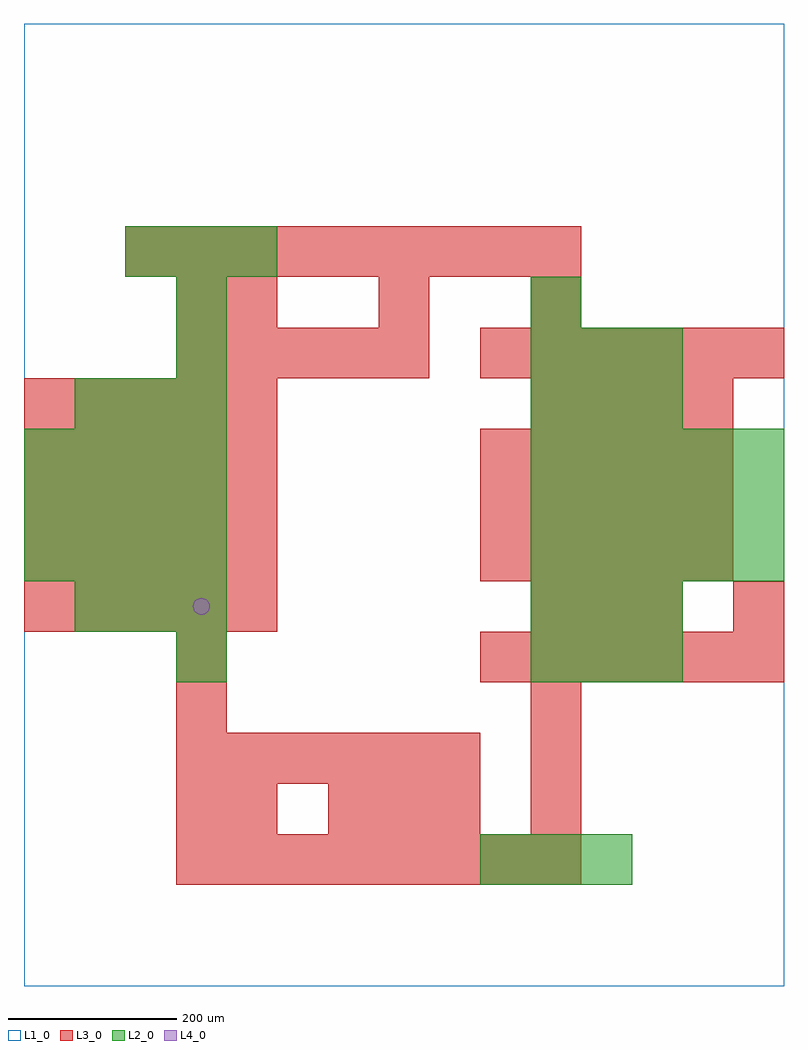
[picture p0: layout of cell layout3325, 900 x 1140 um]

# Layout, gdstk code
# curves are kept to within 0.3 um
import gdstk
lib = gdstk.Library(unit=1e-6, precision=1e-09)
def R(c, l, rs):  # rectangles x0, y0, x1, y1
    for r in rs: c.add(gdstk.rectangle(r[:2], r[2:], *l))
def A(c, l, x, y, w, h, nx, ny, dx, dy):  # array of equal rectangles
    R(c, l, [(x+i*dx, y+j*dy, x+i*dx+w, y+j*dy+h) for i in range(nx) for j in range(ny)])
def P(c, l, *ps):  # polygons
    for p in ps: c.add(gdstk.Polygon(p, *l))
L1_0 = (1, 0)
L2_0 = (2, 0)
L3_0 = (3, 0)
L4_0 = (4, 0)

layout3325 = lib.new_cell('layout3325')
R(layout3325, L1_0, [(0,0,900,1140)])
A(layout3325, L2_0, 540, 120, 60, 60, 3, 1, 60, 0)
A(layout3325, L2_0, 600, 360, 60, 60, 3, 2, 60, 60)
A(layout3325, L2_0, 60, 420, 60, 60, 3, 2, 60, 240)
A(layout3325, L2_0, 0, 480, 60, 60, 4, 3, 60, 60)
A(layout3325, L2_0, 600, 480, 60, 60, 5, 3, 60, 60)
A(layout3325, L2_0, 600, 660, 60, 60, 3, 2, 60, 60)
A(layout3325, L2_0, 120, 840, 60, 60, 3, 1, 60, 0)
R(layout3325, L2_0, [(180,360,240,420), (180,720,240,780), (180,780,240,840), (600,780,660,840)])
A(layout3325, L3_0, 180, 120, 60, 60, 8, 1, 60, 0)
A(layout3325, L3_0, 360, 180, 60, 60, 3, 1, 60, 0)
A(layout3325, L3_0, 600, 180, 60, 60, 1, 3, 0, 60)
A(layout3325, L3_0, 180, 240, 60, 60, 6, 1, 60, 0)
A(layout3325, L3_0, 540, 360, 60, 60, 6, 2, 60, 360)
A(layout3325, L3_0, 0, 420, 60, 60, 5, 5, 60, 60)
A(layout3325, L3_0, 600, 420, 60, 60, 3, 1, 60, 0)
A(layout3325, L3_0, 540, 480, 60, 60, 5, 3, 60, 60)
A(layout3325, L3_0, 600, 660, 60, 60, 4, 1, 60, 0)
A(layout3325, L3_0, 180, 720, 60, 60, 5, 1, 60, 0)
A(layout3325, L3_0, 240, 780, 60, 60, 3, 1, 180, 0)
A(layout3325, L3_0, 120, 840, 60, 60, 9, 1, 60, 0)
R(layout3325, L3_0, [(180,180,240,240), (240,180,300,240), (180,300,240,360), (180,360,240,420), (840,420,900,480), (180,780,240,840)])
P(layout3325, L4_0, [(220,450),(219.239,453.827),(217.071,457.071),(213.827,459.239),(210,460),(206.173,459.239),(202.929,457.071),(200.761,453.827),(200,450),(200.761,446.173),(202.929,442.929),(206.173,440.761),(210,440),(213.827,440.761),(217.071,442.929),(219.239,446.173)])

lib.write_gds('layout3325.gds')
